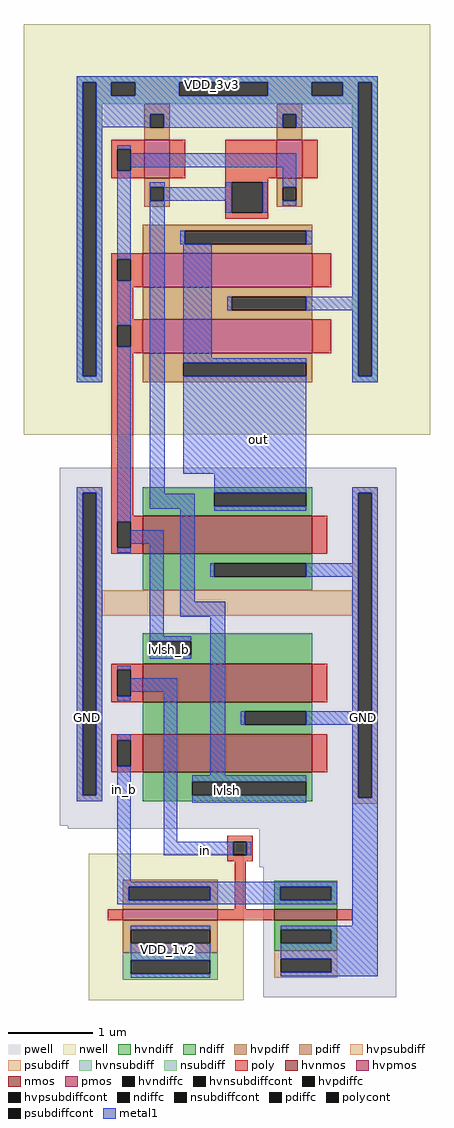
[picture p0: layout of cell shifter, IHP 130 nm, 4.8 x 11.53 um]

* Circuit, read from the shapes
.subckt shifter VDD_3v3 VDD_1v2 GND in out
XM1 GND in_b lvlsh GND sg13_hv_nmos w=2u l=0.45u
XM2 lvlsh_b in GND GND sg13_hv_nmos w=2u l=0.45u
XM3 out lvlsh_b GND GND sg13_hv_nmos w=2u l=0.45u
XM4 in_b in GND GND sg13_lv_nmos w=0.74u l=0.13u
XM5 in_b in VDD_1v2 VDD_1v2 sg13_lv_pmos w=1.12u l=0.13u
XM6 VDD_3v3 lvlsh_b out VDD_3v3 sg13_hv_pmos w=2u l=0.4u m=2
XM7 VDD_3v3 lvlsh_b lvlsh VDD_3v3 sg13_hv_pmos w=0.3u l=0.45u
XM8 VDD_3v3 lvlsh lvlsh_b VDD_3v3 sg13_hv_pmos w=0.3u l=0.45u
.ends

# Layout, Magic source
magic
tech ihp-sg13g2
magscale 1 2
<< nwell >>
rect -371 493 589 1463
rect -218 -843 149 -497
<< pwell >>
rect -286 -431 509 414
rect -267 -438 509 -431
rect 185 -529 509 -438
rect 195 -836 509 -529
rect 185 -837 509 -836
<< nmos >>
rect 221 -655 369 -629
<< pmos >>
rect -137 -655 87 -629
<< hvnmos >>
rect -90 211 310 301
rect -90 -139 310 -49
rect -90 -305 310 -215
<< hvpmos >>
rect -86 1099 -26 1189
rect 227 1099 287 1189
rect -90 841 310 921
rect -90 685 310 765
<< ndiff >>
rect 221 -575 369 -561
rect 221 -607 235 -575
rect 355 -607 369 -575
rect 221 -629 369 -607
rect 221 -677 369 -655
rect 221 -709 236 -677
rect 355 -709 369 -677
rect 221 -727 369 -709
<< pdiff >>
rect -137 -575 87 -559
rect -137 -607 -123 -575
rect 69 -607 87 -575
rect -137 -629 87 -607
rect -137 -677 87 -655
rect -137 -709 -119 -677
rect 70 -709 87 -677
rect -137 -731 87 -709
<< hvndiff >>
rect -90 355 310 369
rect -90 323 79 355
rect 296 323 310 355
rect -90 301 310 323
rect -90 189 310 211
rect -90 157 79 189
rect 296 157 310 189
rect -90 125 310 157
rect -90 5 310 23
rect -90 -27 -73 5
rect 25 -27 310 5
rect -90 -49 310 -27
rect -90 -161 310 -139
rect -90 -193 151 -161
rect 296 -193 310 -161
rect -90 -215 310 -193
rect -90 -327 310 -305
rect -90 -359 27 -327
rect 296 -359 310 -327
rect -90 -373 310 -359
<< hvpdiff >>
rect -86 1250 -26 1275
rect -86 1218 -72 1250
rect -40 1218 -26 1250
rect -86 1189 -26 1218
rect 227 1250 287 1275
rect 227 1218 241 1250
rect 273 1218 287 1250
rect 227 1189 287 1218
rect -86 1077 -26 1099
rect -86 1045 -72 1077
rect -40 1045 -26 1077
rect -86 1031 -26 1045
rect 227 1077 287 1099
rect 227 1045 241 1077
rect 273 1045 287 1077
rect 227 1031 287 1045
rect -90 975 310 989
rect -90 943 9 975
rect 296 943 310 975
rect -90 921 310 943
rect -90 819 310 841
rect -90 787 120 819
rect 296 787 310 819
rect -90 765 310 787
rect -90 663 310 685
rect -90 631 6 663
rect 296 631 310 663
rect -90 617 310 631
<< ndiffc >>
rect 235 -607 355 -575
rect 236 -709 355 -677
<< pdiffc >>
rect -123 -607 69 -575
rect -119 -709 70 -677
<< hvndiffc >>
rect 79 323 296 355
rect 79 157 296 189
rect -73 -27 25 5
rect 151 -193 296 -161
rect 27 -359 296 -327
<< hvpdiffc >>
rect -72 1218 -40 1250
rect 241 1218 273 1250
rect -72 1045 -40 1077
rect 241 1045 273 1077
rect 9 943 296 975
rect 120 787 296 819
rect 6 631 296 663
<< psubdiff >>
rect 221 -745 369 -727
rect 221 -777 236 -745
rect 355 -777 369 -745
rect 221 -791 369 -777
<< nsubdiff >>
rect -137 -749 87 -731
rect -137 -781 -119 -749
rect 70 -781 87 -749
rect -137 -795 87 -781
<< hvpsubdiff >>
rect -246 355 -186 369
rect -246 -359 -232 355
rect -200 125 -186 355
rect 405 355 465 369
rect 405 125 419 355
rect -200 65 419 125
rect -200 -359 -186 65
rect -246 -373 -186 -359
rect 405 -365 419 65
rect 451 -365 465 355
rect 405 -379 465 -365
<< hvnsubdiff >>
rect -246 1325 465 1339
rect -246 631 -232 1325
rect -200 1293 -164 1325
rect -108 1293 -4 1325
rect 205 1293 309 1325
rect 383 1293 419 1325
rect -200 1275 419 1293
rect -200 631 -186 1275
rect -246 617 -186 631
rect 405 631 419 1275
rect 451 631 465 1325
rect 405 617 465 631
<< psubdiffcont >>
rect 236 -777 355 -745
<< nsubdiffcont >>
rect -119 -781 70 -749
<< hvpsubdiffcont >>
rect -232 -359 -200 355
rect 419 -365 451 355
<< hvnsubdiffcont >>
rect -232 631 -200 1325
rect -164 1293 -108 1325
rect -4 1293 205 1325
rect 309 1293 383 1325
rect 419 631 451 1325
<< poly >>
rect -164 1167 -86 1189
rect -164 1116 -150 1167
rect -118 1116 -86 1167
rect -164 1099 -86 1116
rect -26 1099 10 1189
rect 105 1099 227 1189
rect 287 1099 323 1189
rect 105 1089 207 1099
rect 105 1017 120 1089
rect 193 1017 207 1089
rect 105 1003 207 1017
rect -164 907 -90 921
rect -164 856 -150 907
rect -118 856 -90 907
rect -164 841 -90 856
rect 310 841 355 921
rect -164 765 -112 841
rect -164 751 -90 765
rect -164 700 -150 751
rect -118 700 -90 751
rect -164 685 -90 700
rect 310 685 355 765
rect -164 301 -112 685
rect -164 287 -90 301
rect -164 225 -150 287
rect -118 225 -90 287
rect -164 211 -90 225
rect 310 211 346 301
rect -164 -63 -90 -49
rect -164 -125 -150 -63
rect -118 -125 -90 -63
rect -164 -139 -90 -125
rect 310 -139 346 -49
rect -164 -229 -90 -215
rect -164 -291 -150 -229
rect -118 -291 -90 -229
rect -164 -305 -90 -291
rect 310 -305 346 -215
rect 110 -469 170 -455
rect 110 -501 124 -469
rect 156 -501 170 -469
rect 110 -515 170 -501
rect 127 -629 153 -515
rect -173 -655 -137 -629
rect 87 -655 221 -629
rect 369 -655 405 -629
<< polycont >>
rect -150 1116 -118 1167
rect 120 1017 193 1089
rect -150 856 -118 907
rect -150 700 -118 751
rect -150 225 -118 287
rect -150 -125 -118 -63
rect -150 -291 -118 -229
rect 124 -501 156 -469
<< metal1 >>
rect -246 1325 465 1339
rect -246 631 -232 1325
rect -200 1293 -164 1325
rect -108 1293 -4 1325
rect 205 1293 309 1325
rect 383 1293 419 1325
rect -200 1250 419 1293
rect -200 1219 -72 1250
rect -200 631 -186 1219
rect -82 1218 -72 1219
rect -40 1218 241 1250
rect 273 1218 419 1250
rect -246 617 -186 631
rect -150 1167 -118 1177
rect -118 1125 273 1158
rect -150 907 -118 1116
rect -150 751 -118 856
rect -246 355 -186 369
rect -246 -359 -232 355
rect -200 -359 -186 355
rect -150 287 -118 700
rect -73 1077 -38 1089
rect 106 1077 120 1089
rect -73 1045 -72 1077
rect -40 1045 120 1077
rect -73 353 -38 1045
rect 106 1017 120 1045
rect 193 1017 205 1089
rect 241 1077 273 1125
rect 241 1034 273 1045
rect -2 943 9 975
rect 296 943 311 975
rect 6 673 73 943
rect 405 819 419 1218
rect 109 787 120 819
rect 296 787 419 819
rect 6 663 296 673
rect 6 400 296 631
rect 405 631 419 787
rect 451 631 465 1325
rect 405 616 465 631
rect 79 355 296 400
rect -73 318 33 353
rect -118 235 -40 267
rect -150 214 -118 225
rect -73 16 -40 235
rect -2 98 33 318
rect 79 313 296 323
rect 405 355 465 369
rect 405 189 419 355
rect 69 157 79 189
rect 296 157 419 189
rect -2 63 105 98
rect -73 5 25 16
rect -73 -37 25 -27
rect -150 -63 -118 -53
rect -118 -115 -9 -83
rect -150 -136 -118 -125
rect -246 -373 -186 -359
rect -150 -229 -118 -215
rect -150 -564 -118 -291
rect -41 -469 -9 -115
rect 70 -312 105 63
rect 405 -161 419 157
rect 141 -193 151 -161
rect 296 -193 419 -161
rect 27 -327 296 -312
rect 27 -377 296 -359
rect 405 -365 419 -193
rect 451 -365 465 355
rect -41 -501 124 -469
rect 156 -501 166 -469
rect -150 -575 369 -564
rect -150 -607 -123 -575
rect 69 -607 235 -575
rect 355 -607 369 -575
rect -150 -617 369 -607
rect 405 -667 465 -365
rect -119 -677 70 -667
rect -119 -749 70 -709
rect -119 -791 70 -781
rect 236 -677 465 -667
rect 355 -709 465 -677
rect 236 -745 465 -709
rect 355 -777 465 -745
rect 236 -787 465 -777
<< labels >>
flabel hvpsubdiffcont 429 -182 434 -167 1 FreeSans 320 0 0 0 GND
port 3 n power default
flabel metal1 -133 -346 -133 -346 1 FreeSans 320 0 0 0 in_b
flabel hvpsubdiffcont -222 -182 -217 -167 1 FreeSans 320 0 0 0 GND
flabel metal1 -29 -723 -29 -723 0 FreeSans 320 0 0 0 VDD_1v2
port 2 nsew power default
flabel metal1 58 -490 58 -490 0 FreeSans 320 0 0 0 in
port 4 nsew
flabel hvndiffc 110 -349 110 -349 0 FreeSans 320 0 0 0 lvlsh
flabel hvndiffc -26 -16 -26 -16 0 FreeSans 320 0 0 0 lvlsh_b
flabel metal1 183 482 183 482 1 FreeSans 320 0 0 0 out
port 5 n
flabel hvnsubdiffcont 74 1319 74 1319 0 FreeSans 320 0 0 0 VDD_3v3
port 1 nsew power default
<< end >>
